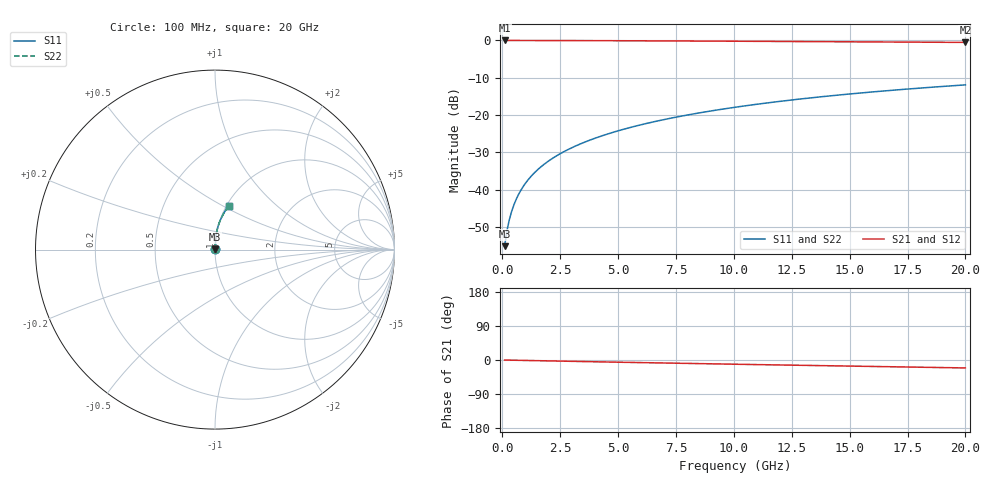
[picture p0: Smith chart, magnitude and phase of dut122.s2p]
! Touchstone file exported from HFSS 2024.1.0
!  File:  C:/UserFiles/LocalFiles/RDL_TSV_Batchsim/temp_RDL_top_122_1778684059.aedt
!  Generated:  10:56:37 PM May 13, 2026
!  Design:  RDL_top
!  Project:  temp_RDL_top_122_1778684059
!  Setup:  Setup1
!  Solution:  Sweep
! Variables:
!  dtsv = 10.80580581um
!  hbump = 3um
!  htsv = 75.64um
!  ldown = 100um
!  lrdl = 231.27um
!  p = 40
!  p1 = 59.29um
!  rhole = 1um
!  t = 450um
!  tdown = 3.915915916um
!  trdl = 4.16um
!  wdown = 15.38538539um
!  wrdl = 18.74um
# GHz S MA R 50.000000
! Terminal data exported
! Port[1] = Box2_T1
! Port[2] = Box2_T2
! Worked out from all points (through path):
!   200 points, 100 MHz to 20 GHz, reference 50 ohm
!   highest |S21| = -0.01 dB at 100 MHz (marker M1); lowest = -0.5 dB at 20 GHz (marker M2)
!   group delay of S21, straight-line fit = 2.89 ps
!   lowest |S11| = -55.1 dB at 100 MHz (marker M3), VSWR 1.00, Z = 50.1 + j0.127 ohm
!   |S11| at or under -10 dB: start of sweep to end of sweep
!   |S22| runs from -55.1 to -11.9 dB; largest |S21 - S12| = 4.1e-15
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0.1  0.001755 46.2  0.9988 -0.1  0.9988 -0.1  0.001755 46.2
! Gamma 0 0 0 0
! Port Impedance 50 0 50 0
0.2  0.002798 63.2  0.9987 -0.2  0.9987 -0.2  0.002798 63.2
0.3  0.003926 70.7  0.9987 -0.4  0.9987 -0.4  0.003927 70.7
0.4  0.005082 74.9  0.9986 -0.5  0.9986 -0.5  0.005082 74.9
0.5  0.006253 77.6  0.9985 -0.6  0.9985 -0.6  0.006253 77.6
0.7  0.008621 80.8  0.9984 -0.8  0.9984 -0.8  0.008621 80.8
0.8  0.009814 81.8  0.9984 -1.0  0.9984 -1.0  0.009814 81.8
1  0.01221 83.2  0.9982 -1.2  0.9982 -1.2  0.01221 83.2
1.2  0.01461 84.2  0.998 -1.4  0.998 -1.4  0.01461 84.2
1.4  0.01702 84.9  0.9979 -1.7  0.9979 -1.7  0.01702 84.9
1.7  0.02065 85.5  0.9975 -2.0  0.9975 -2.0  0.02065 85.5
2  0.02429 86.0  0.9971 -2.4  0.9971 -2.4  0.02429 86.0
2.7  0.03283 86.5  0.996 -3.2  0.996 -3.2  0.03283 86.5
3.5  0.0427 86.7  0.9945 -4.1  0.9945 -4.1  0.0427 86.7
4.2  0.05143 86.6  0.9929 -4.9  0.9929 -4.9  0.05143 86.6
5  0.06153 86.4  0.9909 -5.8  0.9909 -5.8  0.06153 86.4
6.8  0.08467 85.4  0.9858 -7.8  0.9858 -7.8  0.08467 85.4
8.4  0.1056 84.2  0.9809 -9.5  0.9809 -9.5  0.1056 84.2
10.1  0.1279 82.7  0.9755 -11.2  0.9755 -11.2  0.1279 82.7
13.4  0.1711 79.4  0.9646 -14.5  0.9646 -14.5  0.1711 79.4
16.7  0.2132 76.0  0.9529 -17.8  0.9529 -17.8  0.2132 76.0
20  0.2538 72.6  0.9405 -20.9  0.9405 -20.9  0.2538 72.6
